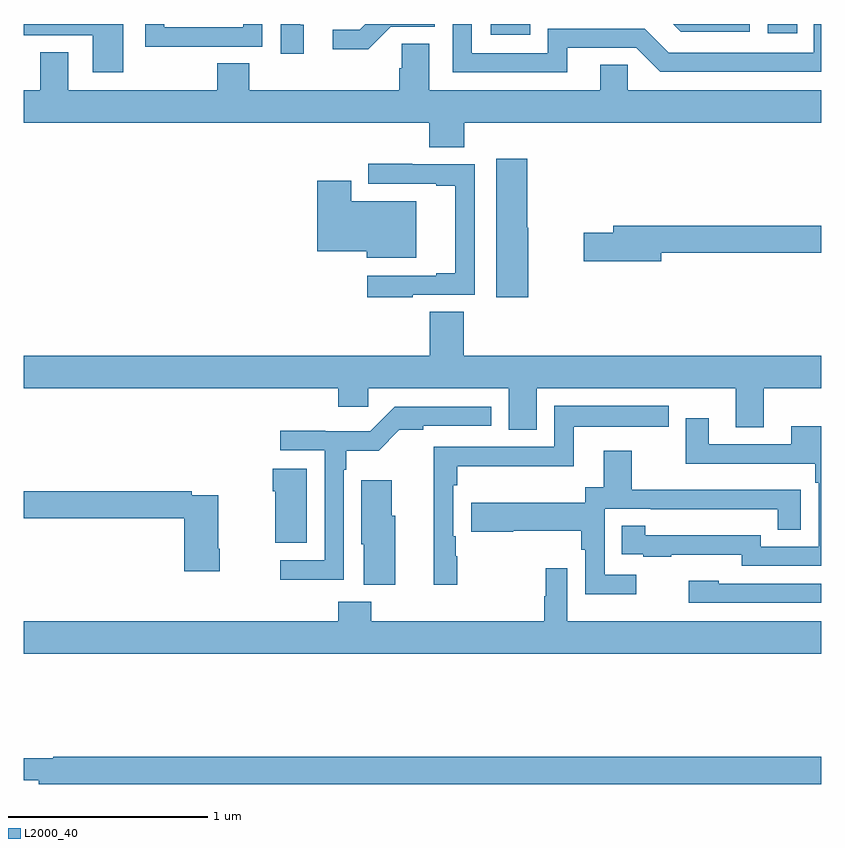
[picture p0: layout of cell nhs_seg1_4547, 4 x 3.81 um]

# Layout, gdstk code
import gdstk
lib = gdstk.Library(unit=1e-6, precision=1e-09)
def R(c, l, rs):  # rectangles x0, y0, x1, y1
    for r in rs: c.add(gdstk.rectangle(r[:2], r[2:], *l))
def P(c, l, *ps):  # polygons
    for p in ps: c.add(gdstk.Polygon(p, *l))
L2000_40 = (2000, 40)

nhs_seg1_4547 = lib.new_cell('nhs_seg1_4547')
R(nhs_seg1_4547, L2000_40, [(359.343,580.145,359.541,580.199), (360.732,580.152,360.878,580.199)])
P(nhs_seg1_4547, L2000_40, [(357.881,580.086),(358.197,580.086),(358.197,580.199),(358.101,580.199),(358.101,580.182),(357.705,580.182),(357.705,580.199),(357.609,580.199),(357.609,580.085),(357.881,580.085)],
  [(358.842,580.185),(359.061,580.185),(359.061,580.199),(358.714,580.199),(358.685,580.17),(358.551,580.17),(358.551,580.073),(358.729,580.073)],
  [(357.499,580.199),(357,580.199),(357,580.143),(357.347,580.143),(357.347,579.957),(357.499,579.957)],
  [(359.725,580.08),(360.072,580.08),(360.192,579.96),(361,579.96),(361,580.199),(360.963,580.199),(360.963,580.056),(360.234,580.056),(360.114,580.176),(359.628,580.176),(359.628,580.053),(359.247,580.053),(359.247,580.199),(359.151,580.199),(359.151,579.957),(359.725,579.957)],
  [(358.405,580.194),(358.386,580.194),(358.386,580.199),(358.29,580.199),(358.29,580.05),(358.405,580.05)],
  [(360.642,580.199),(360.258,580.199),(360.296,580.161),(360.642,580.161)],
  [(359.21,579.704),(361,579.704),(361,579.868),(360.03,579.868),(360.03,579.995),(359.891,579.995),(359.891,579.868),(359.035,579.868),(359.035,580.1),(358.896,580.1),(358.896,579.977),(358.883,579.977),(358.883,579.868),(358.13,579.868),(358.13,580.001),(357.97,580.001),(357.97,579.868),(357.223,579.868),(357.223,580.058),(357.083,580.058),(357.083,579.868),(357,579.868),(357,579.704),(359.033,579.704),(359.033,579.58),(359.21,579.58)],
  [(359.53,579.177),(359.525,579.177),(359.525,579.523),(359.369,579.523),(359.369,578.829),(359.53,578.829)],
  [(358.952,578.841),(359.262,578.841),(359.262,579.495),(358.949,579.495),(358.949,579.497),(358.727,579.497),(358.727,579.399),(359.069,579.399),(359.069,579.387),(359.165,579.387),(359.165,578.95),(359.069,578.95),(359.069,578.937),(358.722,578.937),(358.722,578.829),(358.952,578.829)],
  [(358.969,579.31),(358.642,579.31),(358.642,579.412),(358.472,579.412),(358.472,579.059),(358.721,579.059),(358.721,579.026),(358.969,579.026)],
  [(360.196,579.052),(361,579.052),(361,579.188),(359.957,579.188),(359.957,579.152),(359.808,579.152),(359.808,579.01),(360.196,579.01)],
  [(359.572,578.372),(360.572,578.372),(360.572,578.176),(360.712,578.176),(360.712,578.372),(361,578.372),(361,578.536),(359.207,578.536),(359.207,578.756),(359.036,578.756),(359.036,578.536),(357,578.536),(357,578.372),(358.577,578.372),(358.577,578.279),(358.728,578.279),(358.728,578.372),(359.432,578.372),(359.432,578.164),(359.572,578.164)],
  [(359.175,577.53),(359.166,577.53),(359.166,577.63),(359.154,577.63),(359.154,577.886),(359.174,577.886),(359.174,577.982),(359.758,577.982),(359.758,578.18),(360.235,578.18),(360.235,578.284),(359.661,578.284),(359.661,578.079),(359.057,578.079),(359.057,577.386),(359.175,577.386)],
  [(358.605,577.964),(358.618,577.964),(358.618,578.06),(358.78,578.06),(358.884,578.164),(359.005,578.164),(359.005,578.184),(359.344,578.184),(359.344,578.28),(358.862,578.28),(358.739,578.157),(358.512,578.157),(358.512,578.159),(358.287,578.159),(358.287,578.061),(358.509,578.061),(358.509,577.509),(358.287,577.509),(358.287,577.412),(358.605,577.412)],
  [(361,578.182),(360.848,578.182),(360.848,578.091),(360.436,578.091),(360.436,578.221),(360.32,578.221),(360.32,577.994),(360.97,577.994),(360.97,577.898),(360.987,577.898),(360.987,577.578),(360.696,577.578),(360.696,577.636),(360.117,577.636),(360.117,577.682),(359.998,577.682),(359.998,577.539),(360.106,577.539),(360.106,577.527),(360.248,577.527),(360.248,577.538),(360.6,577.538),(360.6,577.482),(361,577.482)],
  [(360.073,577.437),(359.913,577.437),(359.913,577.767),(360.145,577.767),(360.145,577.766),(360.781,577.766),(360.781,577.663),(360.896,577.663),(360.896,577.863),(360.794,577.863),(360.794,577.864),(360.049,577.864),(360.049,578.059),(359.909,578.059),(359.909,577.876),(359.817,577.876),(359.817,577.798),(359.244,577.798),(359.244,577.654),(359.456,577.654),(359.456,577.658),(359.797,577.658),(359.797,577.562),(359.817,577.562),(359.817,577.34),(360.073,577.34)],
  [(358.42,577.969),(358.25,577.969),(358.25,577.856),(358.262,577.856),(358.262,577.598),(358.42,577.598)],
  [(358.864,577.734),(358.846,577.734),(358.846,577.912),(358.694,577.912),(358.694,577.59),(358.706,577.59),(358.706,577.388),(358.864,577.388)],
  [(357.984,577.567),(357.976,577.567),(357.976,577.836),(357.842,577.836),(357.842,577.856),(357,577.856),(357,577.72),(357.806,577.72),(357.806,577.455),(357.984,577.455)],
  [(361,577.204),(359.727,577.204),(359.727,577.471),(359.619,577.471),(359.619,577.329),(359.611,577.329),(359.611,577.204),(358.742,577.204),(358.742,577.303),(358.577,577.303),(358.577,577.204),(357,577.204),(357,577.04),(361,577.04)],
  [(361,577.392),(360.486,577.392),(360.486,577.408),(360.336,577.408),(360.336,577.296),(361,577.296)],
  [(361,576.524),(357.149,576.524),(357.149,576.517),(357,576.517),(357,576.407),(357.076,576.407),(357.076,576.388),(361,576.388)])

lib.write_gds('nhs_seg1_4547.gds')
